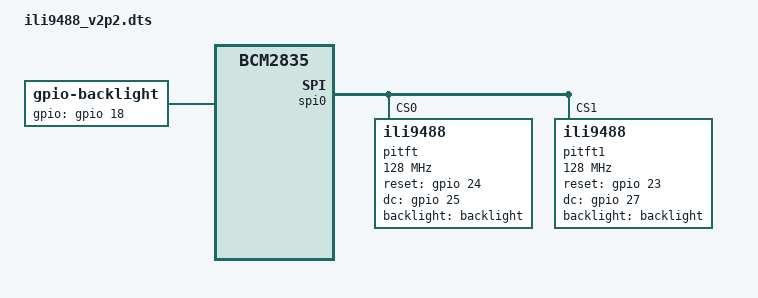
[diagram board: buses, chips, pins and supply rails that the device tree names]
/dts-v1/;
/plugin/;

/ {
	compatible = "brcm,bcm2835";

	/* Enable SPI0 */
	fragment@0 {
		target = <&spi0>;
		__overlay__ {
			status = "okay";
		};
	};

	/* Disable default spidev0 device */
	fragment@1 {
		target = <&spidev0>;
		__overlay__ {
			status = "disabled";
		};
	};

	/* Pin configuration for the first (original) display */
	fragment@2 {
		target = <&gpio>;
		__overlay__ {
			pitft_pins: pitft_pins {
				brcm,pins = <24 25 18>; /* LCD_0: RESET=24, DC=25, BL=18 */
				brcm,function = <1 1 1>; /* all outputs */
			};
		};
	};

	/* Pin configuration for the second display */
	fragment@5 {
		target = <&gpio>;
		__overlay__ {
			pitft1_pins: pitft1_pins {
				brcm,pins = <23 27>;  /* LCD_1: RESET=23, DC=27 */
				brcm,function = <1 1>; /* all outputs */
			};
		};
	};

	/* SPI device nodes for both displays */
	fragment@3 {
		target = <&spi0>;
		__overlay__ {
			#address-cells = <1>;
			#size-cells = <0>;

			/* Original display node (unchanged) */
			pitft: pitft@0 {
				compatible = "ili9488";
				pinctrl-names = "default";
				pinctrl-0 = <&pitft_pins>;

				reg = <0>;
				spi-max-frequency = <128000000>;

				rotation = <0>;
				reset-gpios = <&gpio 24 0>;
				dc-gpios = <&gpio 25 0>;
				backlight = <&backlight>;
			};

			/* Second display node (new addition) */
			pitft1: pitft@1 {
				compatible = "ili9488";
				pinctrl-names = "default";
				pinctrl-0 = <&pitft1_pins>;

				reg = <1>;
				spi-max-frequency = <128000000>;

				rotation = <0>;
				reset-gpios = <&gpio 23 0>;
				dc-gpios = <&gpio 27 0>;
				backlight = <&backlight>;
			};
		};
	};

	/* Backlight configuration (unchanged) */
	fragment@4 {
		target-path = "/soc";
		__overlay__ {
			backlight: backlight {
				compatible = "gpio-backlight";
				gpios = <&gpio 18 0>;
			};
		};
	};

	__overrides__ {
		speed = <&pitft>,"spi-max-frequency:0";
		rotation = <&pitft>,"rotation:0";
	};
};
